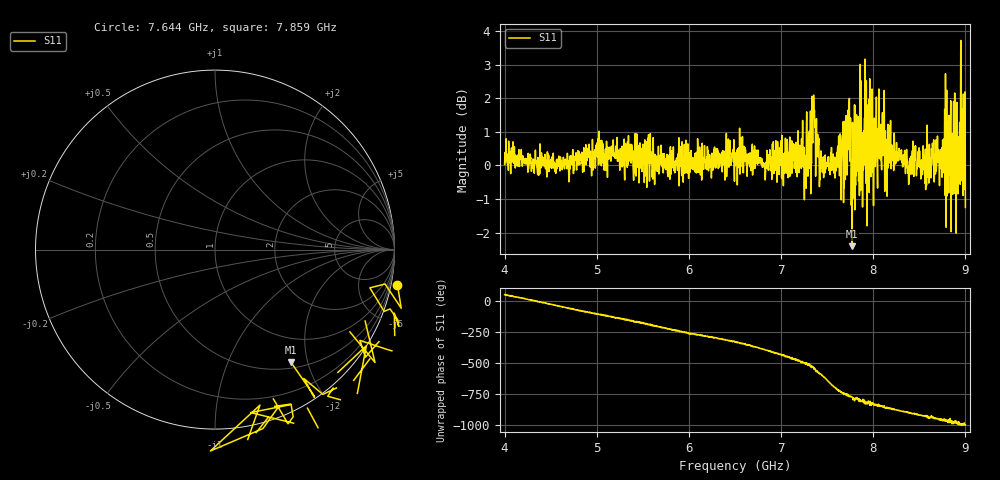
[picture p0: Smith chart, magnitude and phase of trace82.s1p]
! Created with skrf 1.8.0 (http://scikit-rf.org).
# Hz S RI R 50.0
!freq ReS11 ImS11
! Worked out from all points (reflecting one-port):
!   1601 points, 4 GHz to 9 GHz, reference 50 ohm
!   lowest |S11| = -2.4 dB at 7.772 GHz (marker M1), VSWR 7.28, Z = 29.2 - j86.5 ohm
!   phase of S11 starts at 51 deg and turns -1051 deg over the sweep
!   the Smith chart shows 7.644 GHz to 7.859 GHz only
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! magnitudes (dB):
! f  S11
! 4 GHz  0.0
! 4.625 GHz  -0.1
! 5.25 GHz  -0.1
! 5.875 GHz  0.2
! 6.5 GHz  0.3
! 7.125 GHz  0.5
! 7.209 GHz  0.1
! 7.266 GHz  -0.5
! 7.359 GHz  1.5
! 7.441 GHz  0.2
! 7.659 GHz  0.3
! 7.728 GHz  0.5
! 7.75 GHz  0.1
! 7.772 GHz  -2.4
! 7.784 GHz  -0.3
! 7.844 GHz  0.3
! 7.909 GHz  0.0
! 7.928 GHz  0.2
! 7.981 GHz  -0.1
! 8.097 GHz  0.5
! 8.375 GHz  0.1
! 8.738 GHz  -0.1
! 8.791 GHz  -1.8
! 8.844 GHz  -2.0
! 8.919 GHz  -0.8
! 8.934 GHz  0.4
! 8.972 GHz  0.6
! 9 GHz  -1.2
